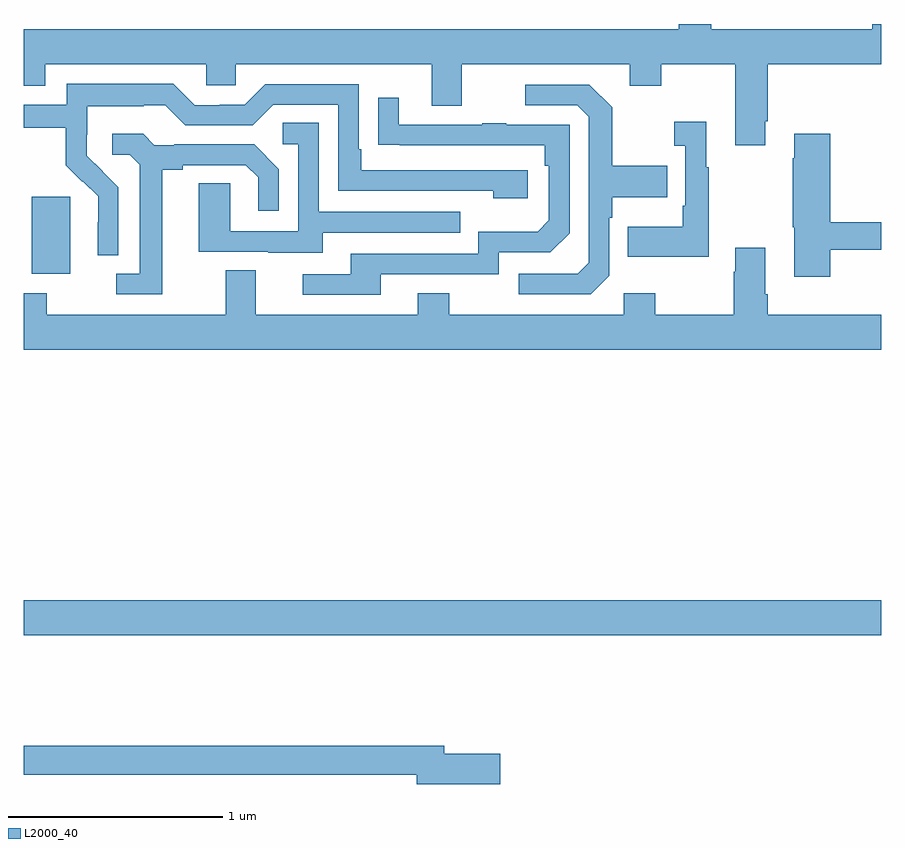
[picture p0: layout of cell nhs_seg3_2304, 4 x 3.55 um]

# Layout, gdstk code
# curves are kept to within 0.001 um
import gdstk
lib = gdstk.Library(unit=1e-6, precision=1e-09)
def R(c, l, rs):  # rectangles x0, y0, x1, y1
    for r in rs: c.add(gdstk.rectangle(r[:2], r[2:], *l))
def P(c, l, *ps):  # polygons
    for p in ps: c.add(gdstk.Polygon(p, *l))
L2000_40 = (2000, 40)

nhs_seg3_2304 = lib.new_cell('nhs_seg3_2304')
R(nhs_seg3_2304, L2000_40, [(229,735.548,233,735.712), (229.037,737.234,229.216,737.595)])
P(nhs_seg3_2304, L2000_40, [(232.459,737.947),(232.472,737.947),(232.472,738.212),(233,738.212),(233,738.4),(232.959,738.4),(232.959,738.376),(232.207,738.376),(232.207,738.4),(232.055,738.4),(232.055,738.376),(229,738.376),(229,738.113),(229.099,738.113),(229.099,738.212),(229.851,738.212),(229.851,738.114),(229.989,738.114),(229.989,738.212),(230.903,738.212),(230.903,738.018),(231.043,738.018),(231.043,738.212),(231.827,738.212),(231.827,738.113),(231.975,738.113),(231.975,738.212),(232.319,738.212),(232.319,737.835),(232.459,737.835)],
  [(229.44,737.638),(229.294,737.786),(229.294,737.883),(229.296,737.883),(229.296,738.017),(229.559,738.017),(229.559,738.021),(229.659,738.021),(229.752,737.928),(230.067,737.928),(230.163,738.024),(230.466,738.024),(230.466,737.622),(231.191,737.622),(231.191,737.588),(231.352,737.588),(231.352,737.718),(230.575,737.718),(230.575,737.815),(230.562,737.815),(230.562,738.12),(230.127,738.12),(230.031,738.024),(229.913,738.024),(229.913,738.021),(229.797,738.021),(229.697,738.121),(229.2,738.121),(229.2,738.024),(229,738.024),(229,737.916),(229.195,737.916),(229.195,737.741),(229.272,737.664),(229.275,737.667),(229.346,737.597),(229.346,737.474),(229.344,737.474),(229.344,737.32),(229.44,737.32)],
  [(231.732,737.226),(231.732,737.495),(231.745,737.495),(231.745,737.591),(232.001,737.591),(232.001,737.739),(231.745,737.739),(231.745,738.011),(231.639,738.117),(231.339,738.117),(231.339,738.021),(231.582,738.021),(231.636,737.967),(231.636,737.286),(231.585,737.235),(231.309,737.235),(231.309,737.139),(231.645,737.139)],
  [(230.665,737.232),(231.216,737.232),(231.216,737.334),(231.456,737.334),(231.546,737.424),(231.546,737.931),(231.251,737.931),(231.251,737.936),(231.139,737.936),(231.139,737.931),(230.749,737.931),(230.749,738.055),(230.653,738.055),(230.653,737.836),(231.43,737.835),(231.43,737.738),(231.45,737.738),(231.45,737.484),(231.397,737.431),(231.12,737.431),(231.12,737.328),(230.525,737.328),(230.525,737.232),(230.301,737.232),(230.301,737.136),(230.665,737.136)],
  [(232.195,737.731),(232.183,737.731),(232.183,737.944),(232.035,737.944),(232.035,737.831),(232.086,737.831),(232.086,737.551),(232.074,737.551),(232.074,737.455),(231.817,737.455),(231.817,737.315),(232.195,737.315)],
  [(230.395,737.427),(231.035,737.427),(231.035,737.523),(230.376,737.523),(230.376,737.939),(230.208,737.939),(230.208,737.838),(230.28,737.838),(230.28,737.433),(229.962,737.433),(229.962,737.657),(229.817,737.657),(229.817,737.337),(230.141,737.337),(230.141,737.333),(230.395,737.333)],
  [(232.763,737.346),(233,737.346),(233,737.474),(232.763,737.474),(232.763,737.887),(232.595,737.887),(232.595,737.774),(232.588,737.774),(232.588,737.451),(232.595,737.451),(232.595,737.22),(232.763,737.22)],
  [(229.645,737.72),(229.741,737.72),(229.741,737.742),(230.036,737.742),(230.093,737.685),(230.093,737.529),(230.19,737.529),(230.19,737.722),(230.074,737.838),(229.702,737.838),(229.702,737.835),(229.608,737.835),(229.556,737.887),(229.413,737.887),(229.413,737.79),(229.494,737.79),(229.541,737.743),(229.541,737.235),(229.431,737.235),(229.431,737.139),(229.645,737.139)],
  [(233,737.044),(232.472,737.044),(232.472,737.14),(232.459,737.14),(232.459,737.356),(232.319,737.356),(232.319,737.243),(232.312,737.243),(232.312,737.044),(231.945,737.044),(231.945,737.143),(231.798,737.143),(231.798,737.044),(230.985,737.044),(230.985,737.143),(230.837,737.143),(230.837,737.044),(230.083,737.044),(230.083,737.252),(229.943,737.252),(229.943,737.044),(229.107,737.044),(229.107,737.143),(229,737.143),(229,736.88),(233,736.88)],
  [(231.223,734.996),(230.962,734.996),(230.962,735.032),(229,735.032),(229,734.896),(230.834,734.896),(230.834,734.854),(231.223,734.854)])

lib.write_gds('nhs_seg3_2304.gds')
